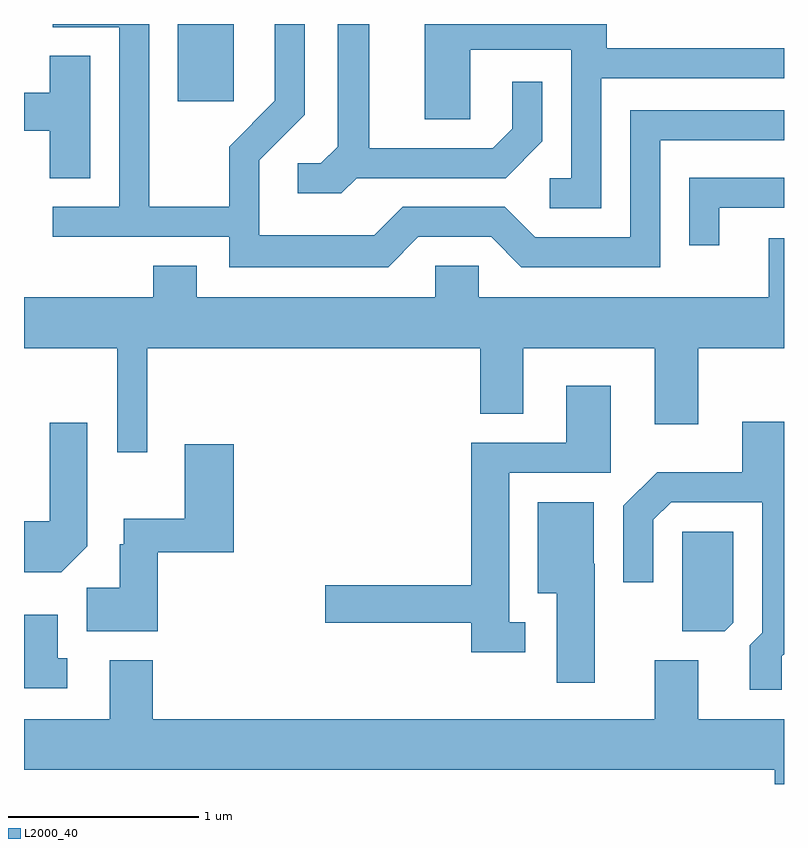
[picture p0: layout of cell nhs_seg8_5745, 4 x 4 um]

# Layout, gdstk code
import gdstk
lib = gdstk.Library(unit=1e-6, precision=1e-09)
def R(c, l, rs):  # rectangles x0, y0, x1, y1
    for r in rs: c.add(gdstk.rectangle(r[:2], r[2:], *l))
def P(c, l, *ps):  # polygons
    for p in ps: c.add(gdstk.Polygon(p, *l))
L2000_40 = (2000, 40)

nhs_seg8_5745 = lib.new_cell('nhs_seg8_5745')
R(nhs_seg8_5745, L2000_40, [(358.421,1839.936,358.714,1840.342)])
P(nhs_seg8_5745, L2000_40, [(359.362,1839.531),(360.147,1839.531),(360.339,1839.724),(360.339,1840.038),(360.181,1840.038),(360.181,1839.792),(360.079,1839.689),(359.429,1839.689),(359.429,1840.342),(359.261,1840.342),(359.261,1839.697),(359.174,1839.609),(359.053,1839.609),(359.053,1839.451),(359.282,1839.451)],
  [(359.687,1839.221),(360.069,1839.221),(360.229,1839.061),(360.959,1839.061),(360.959,1839.731),(361.611,1839.731),(361.611,1839.889),(360.801,1839.889),(360.801,1839.219),(360.302,1839.219),(360.142,1839.379),(359.604,1839.379),(359.454,1839.229),(358.849,1839.229),(358.849,1839.624),(359.089,1839.864),(359.089,1840.342),(358.931,1840.342),(358.931,1839.937),(358.691,1839.697),(358.691,1839.379),(358.269,1839.379),(358.269,1840.342),(357.763,1840.342),(357.763,1840.326),(358.111,1840.326),(358.111,1839.379),(357.763,1839.379),(357.763,1839.221),(358.691,1839.221),(358.691,1839.061),(359.527,1839.061)],
  [(360.649,1840.056),(361.611,1840.056),(361.611,1840.214),(360.679,1840.214),(360.679,1840.342),(359.721,1840.342),(359.721,1839.841),(359.959,1839.841),(359.959,1840.206),(360.491,1840.206),(360.491,1839.529),(360.378,1839.529),(360.378,1839.371),(360.649,1839.371)],
  [(357.959,1840.174),(357.746,1840.174),(357.746,1839.979),(357.611,1839.979),(357.611,1839.781),(357.746,1839.781),(357.746,1839.531),(357.959,1839.531)],
  [(361.269,1839.376),(361.611,1839.376),(361.611,1839.534),(361.111,1839.534),(361.111,1839.178),(361.269,1839.178)],
  [(358.259,1838.636),(360.011,1838.636),(360.011,1838.291),(360.239,1838.291),(360.239,1838.636),(360.931,1838.636),(360.931,1838.236),(361.159,1838.236),(361.159,1838.636),(361.611,1838.636),(361.611,1839.214),(361.531,1839.214),(361.531,1838.904),(360.004,1838.904),(360.004,1839.069),(359.776,1839.069),(359.776,1838.904),(358.519,1838.904),(358.519,1839.069),(358.291,1839.069),(358.291,1838.904),(357.611,1838.904),(357.611,1838.636),(358.101,1838.636),(358.101,1838.088),(358.259,1838.088)],
  [(360.248,1837.194),(360.164,1837.194),(360.164,1837.981),(360.699,1837.981),(360.699,1838.439),(360.466,1838.439),(360.466,1838.139),(359.966,1838.139),(359.966,1837.389),(359.196,1837.389),(359.196,1837.191),(359.966,1837.191),(359.966,1837.036),(360.248,1837.036)],
  [(361.599,1837.014),(361.611,1837.026),(361.611,1838.249),(361.391,1838.249),(361.391,1837.984),(360.944,1837.984),(360.766,1837.807),(360.766,1837.403),(360.924,1837.403),(360.924,1837.734),(361.017,1837.826),(361.496,1837.826),(361.496,1837.137),(361.431,1837.072),(361.431,1836.838),(361.599,1836.838)],
  [(357.944,1837.594),(357.944,1838.244),(357.746,1838.244),(357.746,1837.724),(357.611,1837.724),(357.611,1837.456),(357.807,1837.456)],
  [(358.314,1837.561),(358.714,1837.561),(358.714,1838.129),(358.456,1838.129),(358.456,1837.739),(358.136,1837.739),(358.136,1837.604),(358.116,1837.604),(358.116,1837.374),(357.941,1837.374),(357.941,1837.146),(358.314,1837.146)],
  [(360.614,1837.5),(360.609,1837.5),(360.609,1837.824),(360.316,1837.824),(360.316,1837.346),(360.416,1837.346),(360.416,1836.876),(360.614,1836.876)],
  [(361.344,1837.192),(361.344,1837.669),(361.076,1837.669),(361.076,1837.146),(361.299,1837.146)],
  [(357.838,1837.004),(357.789,1837.004),(357.789,1837.234),(357.611,1837.234),(357.611,1836.846),(357.838,1836.846)],
  [(361.611,1836.684),(361.159,1836.684),(361.159,1836.994),(360.931,1836.994),(360.931,1836.684),(358.289,1836.684),(358.289,1836.994),(358.061,1836.994),(358.061,1836.684),(357.611,1836.684),(357.611,1836.416),(361.561,1836.416),(361.561,1836.342),(361.611,1836.342)])

lib.write_gds('nhs_seg8_5745.gds')
